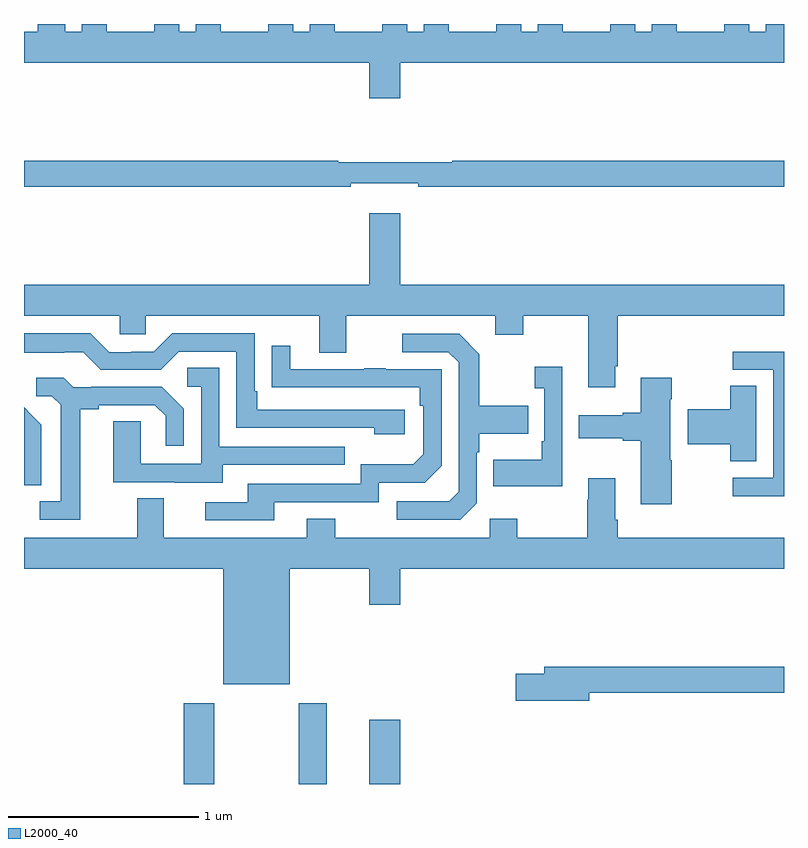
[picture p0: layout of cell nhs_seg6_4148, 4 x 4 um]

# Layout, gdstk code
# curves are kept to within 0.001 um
import gdstk
lib = gdstk.Library(unit=1e-6, precision=1e-09)
def R(c, l, rs):  # rectangles x0, y0, x1, y1
    for r in rs: c.add(gdstk.rectangle(r[:2], r[2:], *l))
def P(c, l, *ps):  # polygons
    for p in ps: c.add(gdstk.Polygon(p, *l))
L2000_40 = (2000, 40)

nhs_seg6_4148 = lib.new_cell('nhs_seg6_4148')
R(nhs_seg6_4148, L2000_40, [(355.841,983.5,356.001,983.926), (356.446,983.5,356.593,983.926), (356.816,983.5,356.98,983.839)])
P(nhs_seg6_4148, L2000_40, [(356.285,987.5),(356.285,987.46),(356.035,987.46),(356.035,987.5),(355.904,987.5),(355.904,987.46),(355.816,987.46),(355.816,987.5),(355.685,987.5),(355.685,987.46),(355.435,987.46),(355.435,987.5),(355.304,987.5),(355.304,987.46),(355.216,987.46),(355.216,987.5),(355.073,987.5),(355.073,987.46),(355,987.46),(355,987.296),(356.816,987.296),(356.816,987.108),(356.98,987.108),(356.98,987.296),(359,987.296),(359,987.5),(358.904,987.5),(358.904,987.46),(358.816,987.46),(358.816,987.5),(358.685,987.5),(358.685,987.46),(358.435,987.46),(358.435,987.5),(358.304,987.5),(358.304,987.46),(358.216,987.46),(358.216,987.5),(358.085,987.5),(358.085,987.46),(357.835,987.46),(357.835,987.5),(357.704,987.5),(357.704,987.46),(357.616,987.46),(357.616,987.5),(357.485,987.5),(357.485,987.46),(357.235,987.46),(357.235,987.5),(357.104,987.5),(357.104,987.46),(357.016,987.46),(357.016,987.5),(356.885,987.5),(356.885,987.46),(356.635,987.46),(356.635,987.5),(356.504,987.5),(356.504,987.46),(356.416,987.46),(356.416,987.5)],
  [(356.72,986.663),(357.076,986.663),(357.076,986.644),(359,986.644),(359,986.78),(357.255,986.78),(357.255,986.773),(356.655,986.773),(356.655,986.78),(355,986.78),(355,986.644),(356.72,986.644)],
  [(358.111,985.699),(358.124,985.699),(358.124,985.964),(359,985.964),(359,986.128),(356.98,986.128),(356.98,986.503),(356.816,986.503),(356.816,986.128),(355,986.128),(355,985.964),(355.503,985.964),(355.503,985.866),(355.641,985.866),(355.641,985.964),(356.555,985.964),(356.555,985.77),(356.695,985.77),(356.695,985.964),(357.479,985.964),(357.479,985.865),(357.627,985.865),(357.627,985.964),(357.971,985.964),(357.971,985.587),(358.111,985.587)],
  [(357.004,985.47),(356.227,985.47),(356.227,985.567),(356.214,985.567),(356.214,985.872),(355.779,985.872),(355.683,985.776),(355.565,985.776),(355.565,985.773),(355.449,985.773),(355.349,985.873),(355,985.873),(355,985.769),(355.211,985.769),(355.211,985.773),(355.311,985.773),(355.404,985.68),(355.719,985.68),(355.815,985.776),(356.118,985.776),(356.118,985.374),(356.843,985.374),(356.843,985.34),(357.004,985.34)],
  [(357.384,984.978),(357.384,985.247),(357.397,985.247),(357.397,985.343),(357.653,985.343),(357.653,985.491),(357.397,985.491),(357.397,985.763),(357.291,985.869),(356.991,985.869),(356.991,985.773),(357.234,985.773),(357.288,985.719),(357.288,985.038),(357.237,984.987),(356.961,984.987),(356.961,984.891),(357.297,984.891)],
  [(356.317,984.984),(356.868,984.984),(356.868,985.086),(357.108,985.086),(357.198,985.176),(357.198,985.683),(356.903,985.683),(356.903,985.688),(356.791,985.688),(356.791,985.683),(356.401,985.683),(356.401,985.807),(356.305,985.807),(356.305,985.588),(357.082,985.587),(357.082,985.49),(357.102,985.49),(357.102,985.236),(357.049,985.183),(356.772,985.183),(356.772,985.08),(356.177,985.08),(356.177,984.984),(355.953,984.984),(355.953,984.888),(356.317,984.888)],
  [(359,985.776),(358.731,985.776),(358.731,985.68),(358.944,985.68),(358.944,985.113),(358.731,985.113),(358.731,985.015),(359,985.015)],
  [(357.834,985.696),(357.687,985.696),(357.687,985.583),(357.738,985.583),(357.738,985.303),(357.726,985.303),(357.726,985.207),(357.469,985.207),(357.469,985.067),(357.834,985.067)],
  [(356.047,985.179),(356.687,985.179),(356.687,985.275),(356.028,985.275),(356.028,985.691),(355.86,985.691),(355.86,985.59),(355.932,985.59),(355.932,985.185),(355.614,985.185),(355.614,985.409),(355.469,985.409),(355.469,985.089),(355.793,985.089),(355.793,985.085),(356.047,985.085)],
  [(355.297,985.472),(355.393,985.472),(355.393,985.494),(355.688,985.494),(355.745,985.437),(355.745,985.281),(355.842,985.281),(355.842,985.474),(355.726,985.59),(355.354,985.59),(355.354,985.587),(355.26,985.587),(355.208,985.639),(355.065,985.639),(355.065,985.542),(355.146,985.542),(355.193,985.495),(355.193,984.987),(355.083,984.987),(355.083,984.891),(355.297,984.891)],
  [(358.41,985.205),(358.402,985.205),(358.402,985.526),(358.41,985.526),(358.41,985.639),(358.247,985.639),(358.247,985.454),(358.151,985.454),(358.151,985.441),(357.921,985.441),(357.921,985.319),(358.151,985.319),(358.151,985.307),(358.247,985.307),(358.247,984.972),(358.41,984.972)],
  [(358.855,985.595),(358.717,985.595),(358.717,985.472),(358.494,985.472),(358.494,985.289),(358.717,985.289),(358.717,985.198),(358.855,985.198)],
  [(355.092,985.39),(355.019,985.463),(355.02,985.464),(355,985.484),(355,985.072),(355.092,985.072)],
  [(355.735,985.004),(355.595,985.004),(355.595,984.796),(355,984.796),(355,984.632),(356.048,984.632),(356.048,984.026),(356.398,984.026),(356.398,984.632),(356.816,984.632),(356.816,984.444),(356.98,984.444),(356.98,984.632),(359,984.632),(359,984.796),(358.124,984.796),(358.124,984.892),(358.111,984.892),(358.111,985.108),(357.971,985.108),(357.971,984.995),(357.964,984.995),(357.964,984.796),(357.597,984.796),(357.597,984.895),(357.45,984.895),(357.45,984.796),(356.637,984.796),(356.637,984.895),(356.489,984.895),(356.489,984.796),(355.735,984.796)],
  [(357.976,983.98),(359,983.98),(359,984.116),(357.737,984.116),(357.737,984.08),(357.588,984.08),(357.588,983.938),(357.976,983.938)])

lib.write_gds('nhs_seg6_4148.gds')
